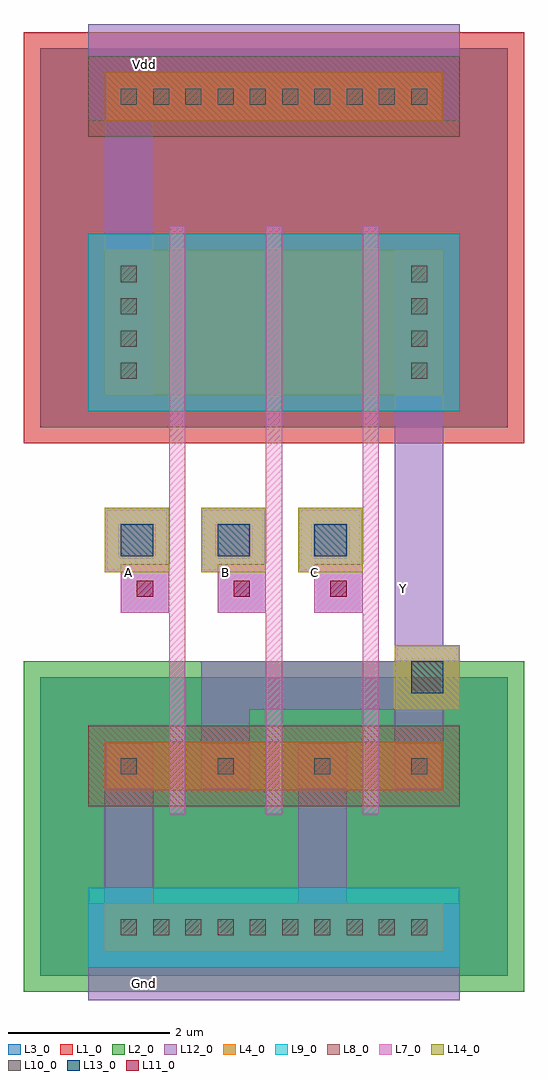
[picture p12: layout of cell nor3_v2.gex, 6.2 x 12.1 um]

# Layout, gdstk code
import gdstk
lib = gdstk.Library(unit=1e-6, precision=1e-09)
def R(c, l, rs):  # rectangles x0, y0, x1, y1
    for r in rs: c.add(gdstk.rectangle(r[:2], r[2:], *l))
def A(c, l, x, y, w, h, nx, ny, dx, dy):  # array of equal rectangles
    R(c, l, [(x+i*dx, y+j*dy, x+i*dx+w, y+j*dy+h) for i in range(nx) for j in range(ny)])
L1_0 = (1, 0)
L2_0 = (2, 0)
L3_0 = (3, 0)
L4_0 = (4, 0)
L7_0 = (7, 0)
L8_0 = (8, 0)
L9_0 = (9, 0)
L10_0 = (10, 0)
L11_0 = (11, 0)
L12_0 = (12, 0)
L13_0 = (13, 0)
L14_0 = (14, 0)

nor3_v2_gex = lib.new_cell('nor3_v2.gex')
R(nor3_v2_gex, L1_0, [(-0.8,6.9,5.4,12)])
R(nor3_v2_gex, L2_0, [(-0.8,0.1,5.4,4.2)])
R(nor3_v2_gex, L3_0, [(-0.6,0.3,5.2,4), (-0.6,7.1,5.2,11.8)])
R(nor3_v2_gex, L4_0, [(0.2,0.6,4.4,1.2), (0.2,2.6,4.4,3.2), (0.2,7.5,4.4,9.3), (0.2,10.9,4.4,11.5)])
A(nor3_v2_gex, L7_0, 1, 2.3, 0.2, 7.3, 3, 1, 1.2, 0)
A(nor3_v2_gex, L7_0, 0.4, 4.8, 0.6, 0.6, 3, 1, 1.2, 0)
R(nor3_v2_gex, L8_0, [(0,2.4,4.6,3.4), (0,10.7,4.6,11.7)])
R(nor3_v2_gex, L9_0, [(0,0.4,4.6,1.4), (0,7.3,4.6,9.5)])
A(nor3_v2_gex, L10_0, 0.4, 0.8, 0.2, 0.2, 10, 2, 0.4, 10.3)
A(nor3_v2_gex, L10_0, 0.4, 2.8, 0.2, 0.2, 4, 1, 1.2, 0)
A(nor3_v2_gex, L10_0, 0.4, 7.7, 0.2, 0.2, 1, 4, 0, 0.4)
A(nor3_v2_gex, L10_0, 4, 7.7, 0.2, 0.2, 1, 4, 0, 0.4)
A(nor3_v2_gex, L11_0, 0.6, 5, 0.2, 0.2, 3, 1, 1.2, 0)
A(nor3_v2_gex, L12_0, 0.4, 4.8, 0.6, 0.6, 3, 1, 1.2, 0)
A(nor3_v2_gex, L12_0, 0.2, 5.3, 0.8, 0.8, 3, 1, 1.2, 0)
R(nor3_v2_gex, L12_0, [(0,0,4.6,1.2), (0.2,1.2,0.8,3.2), (2.6,1.2,3.2,3.2), (1.4,2.6,2,3.6), (3.8,2.6,4.4,3.6), (1.4,3.6,3.8,4.2), (3.8,3.6,4.6,4.4), (3.8,3.6,4.4,9.3), (0.2,7.5,0.8,10.9), (0,10.9,4.6,12.1)])
A(nor3_v2_gex, L13_0, 0.4, 5.5, 0.4, 0.4, 3, 1, 1.2, 0)
R(nor3_v2_gex, L13_0, [(4,3.8,4.4,4.2)])
A(nor3_v2_gex, L14_0, 0.2, 5.3, 0.8, 0.8, 3, 1, 1.2, 0)
R(nor3_v2_gex, L14_0, [(3.8,3.6,4.6,4.4)])
nor3_v2_gex.add(gdstk.Label('Vdd', (0.7,11.6), layer=12, texttype=0))
nor3_v2_gex.add(gdstk.Label('A', (0.5,5.3), layer=12, texttype=0))
nor3_v2_gex.add(gdstk.Label('Gnd', (0.7,0.2), layer=12, texttype=0))
nor3_v2_gex.add(gdstk.Label('Y', (3.9,5.1), layer=12, texttype=0))
nor3_v2_gex.add(gdstk.Label('B', (1.7,5.3), layer=12, texttype=0))
nor3_v2_gex.add(gdstk.Label('C', (2.8,5.3), layer=12, texttype=0))

lib.write_gds('nor3_v2.gex.gds')
